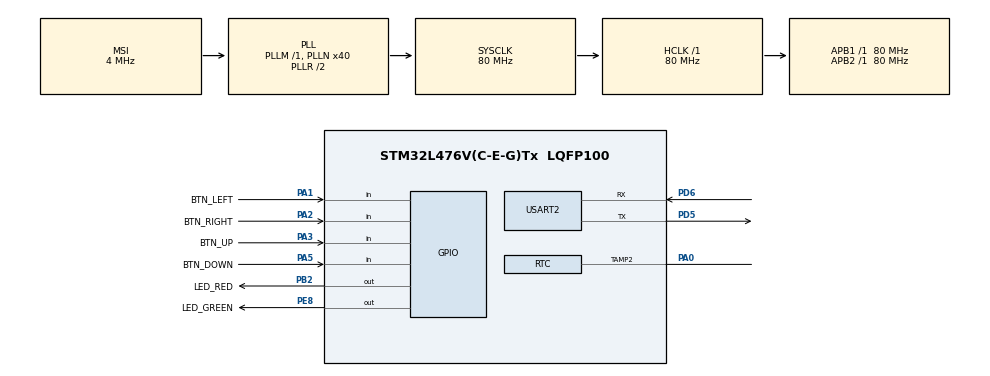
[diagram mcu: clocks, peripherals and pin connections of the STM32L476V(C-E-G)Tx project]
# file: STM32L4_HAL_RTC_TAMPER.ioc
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Mcu.Family=STM32L4
Mcu.Name=STM32L476V(C-E-G)Tx
Mcu.Package=LQFP100
NVIC.PriorityGroup=NVIC_PRIORITYGROUP_4
NVIC.RTC_WKUP_IRQn=true\:0\:0\:false\:false\:true\:true\:true\:true
NVIC.TAMP_STAMP_IRQn=true\:0\:0\:false\:false\:true\:true\:true\:true
PA0.Mode=Tamper 2 enabled
PA0.Signal=RTC_TAMP2
PA1.GPIO_Label=BTN_LEFT
PA1.GPIO_PuPd=GPIO_PULLDOWN
PA1.Signal=GPIO_Input
PA13\ (JTMS-SWDIO).Mode=Serial_Wire
PA13\ (JTMS-SWDIO).Signal=SYS_JTMS-SWDIO
PA14\ (JTCK-SWCLK).Mode=Serial_Wire
PA14\ (JTCK-SWCLK).Signal=SYS_JTCK-SWCLK
PA2.GPIO_Label=BTN_RIGHT
PA2.GPIO_PuPd=GPIO_PULLDOWN
PA2.Signal=GPIO_Input
PA3.GPIO_Label=BTN_UP
PA3.GPIO_PuPd=GPIO_PULLDOWN
PA3.Signal=GPIO_Input
PA5.GPIO_Label=BTN_DOWN
PA5.Signal=GPIO_Input
PB2.GPIO_Label=LED_RED
PB2.Signal=GPIO_Output
PC14-OSC32_IN\ (PC14).Mode=LSE-External-Oscillator
PC14-OSC32_IN\ (PC14).Signal=RCC_OSC32_IN
PC15-OSC32_OUT\ (PC15).Mode=LSE-External-Oscillator
PC15-OSC32_OUT\ (PC15).Signal=RCC_OSC32_OUT
PD5.Mode=Asynchronous
PD5.Signal=USART2_TX
PD6.Mode=Asynchronous
PD6.Signal=USART2_RX
PE8.GPIO_Label=LED_GREEN
PE8.Signal=GPIO_Output
ProjectManager.HeapSize=0x200
ProjectManager.StackSize=0x400
ProjectManager.TargetToolchain=STM32CubeIDE
RCC.ADCFreq_Value=48000000
RCC.AHBFreq_Value=80000000
RCC.APB1Freq_Value=80000000
RCC.APB1TimFreq_Value=80000000
RCC.APB2Freq_Value=80000000
RCC.APB2TimFreq_Value=80000000
RCC.CortexFreq_Value=80000000
RCC.HCLKFreq_Value=80000000
RCC.HSE_VALUE=8000000
RCC.HSI_VALUE=16000000
RCC.LPTIM2CLockSelection=RCC_LPTIM2CLKSOURCE_LSE
RCC.MSI_VALUE=4000000
RCC.PLLN=40
RCC.PLLSAI1N=24
RCC.RTCClockSelection=RCC_RTCCLKSOURCE_LSE
RCC.SYSCLKFreq_VALUE=80000000
RCC.SYSCLKSource=RCC_SYSCLKSOURCE_PLLCLK
RCC.USBFreq_Value=48000000
RCC.VCOOutputFreq_Value=160000000
RTC.TamperPullUp=RTC_TAMPER_PULLUP_DISABLE
RTC.WakeUpClock-WakeUp=RTC_WAKEUPCLOCK_CK_SPRE_16BITS
RTC.WakeUpCounter-WakeUp=4
USART2.VirtualMode-Asynchronous=VM_ASYNC
VP_RTC_VS_RTC_Activate.Mode=RTC_Enabled
VP_RTC_VS_RTC_Calendar.Mode=RTC_Calendar
VP_RTC_VS_RTC_WakeUp_intern.Mode=WakeUp
board=STM32L476G-DISCO

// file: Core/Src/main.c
/* USER CODE BEGIN Header */
/**
  ******************************************************************************
  * @file           : main.c
  * @brief          : Main program body
  ******************************************************************************
  * @attention
  *
  * Copyright (c) 2023 STMicroelectronics.
  * All rights reserved.
  *
  * This software is licensed under terms that can be found in the LICENSE file
  * in the root directory of this software component.
  * If no LICENSE file comes with this software, it is provided AS-IS.
  *
  ******************************************************************************
  */
/* USER CODE END Header */
#include "main.h"
#include "rtc.h"
#include "usart.h"
#include "gpio.h"

void SystemClock_Config(void);

/* USER CODE BEGIN 0 */

#define BACKUP_RAM_PATTERN  (uint32_t)0xA5F0A5F0
#define RTC_BACKUP_REG      RTC_BKP_DR1

/* USER CODE END 0 */

int main(void)
{

  /* MCU Configuration--------------------------------------------------------*/

  /* Reset of all peripherals, Initializes the Flash interface and the Systick. */
  HAL_Init();

  /* Configure the system clock */
  SystemClock_Config();

  /* Initialize all configured peripherals */
  MX_GPIO_Init();
  MX_USART2_UART_Init();
  MX_RTC_Init();
  /* USER CODE BEGIN 2 */

  // Check standby flag
  if(__HAL_PWR_GET_FLAG(PWR_FLAG_SB) != RESET)
  {
    __HAL_PWR_CLEAR_FLAG(PWR_FLAG_SB);
    if(HAL_RTCEx_BKUPRead(&hrtc, RTC_BACKUP_REG) != BACKUP_RAM_PATTERN)
    {
      while(1)
      {
        // tamper detection, backup register was cleared
        HAL_GPIO_WritePin(LED_RED_GPIO_Port, LED_RED_Pin, GPIO_PIN_SET);
      }
    }
    else
    {
      HAL_GPIO_TogglePin(LED_GREEN_GPIO_Port, LED_GREEN_Pin);
      HAL_Delay(500);
      HAL_GPIO_TogglePin(LED_GREEN_GPIO_Port, LED_GREEN_Pin);
    }
  }
  else
  {
    HAL_RTCEx_BKUPWrite(&hrtc, RTC_BACKUP_REG, BACKUP_RAM_PATTERN);
  }

  // clear wakup timer
  HAL_RTCEx_DeactivateWakeUpTimer(&hrtc);
  __HAL_PWR_CLEAR_FLAG(PWR_FLAG_WU);

  // enable wakeup timer, 4sec
  HAL_RTCEx_SetWakeUpTimer_IT(&hrtc, 4, RTC_WAKEUPCLOCK_CK_SPRE_16BITS);

  // if system wakes up, it will start from the beginning
  HAL_PWR_EnterSTANDBYMode();

  /* USER CODE END 2 */

  /* Infinite loop */
  while (1)
  {

  }
}

void SystemClock_Config(void)
{
  RCC_OscInitTypeDef RCC_OscInitStruct = {0};
  RCC_ClkInitTypeDef RCC_ClkInitStruct = {0};

  /** Configure the main internal regulator output voltage
  */
  if (HAL_PWREx_ControlVoltageScaling(PWR_REGULATOR_VOLTAGE_SCALE1) != HAL_OK)
  {
    Error_Handler();
  }

  /** Configure LSE Drive Capability
  */
  HAL_PWR_EnableBkUpAccess();
  __HAL_RCC_LSEDRIVE_CONFIG(RCC_LSEDRIVE_LOW);

  /** Initializes the RCC Oscillators according to the specified parameters
  * in the RCC_OscInitTypeDef structure.
  */
  RCC_OscInitStruct.OscillatorType = RCC_OSCILLATORTYPE_LSE|RCC_OSCILLATORTYPE_MSI;
  RCC_OscInitStruct.LSEState = RCC_LSE_ON;
  RCC_OscInitStruct.MSIState = RCC_MSI_ON;
  RCC_OscInitStruct.MSICalibrationValue = 0;
  RCC_OscInitStruct.MSIClockRange = RCC_MSIRANGE_6;
  RCC_OscInitStruct.PLL.PLLState = RCC_PLL_ON;
  RCC_OscInitStruct.PLL.PLLSource = RCC_PLLSOURCE_MSI;
  RCC_OscInitStruct.PLL.PLLM = 1;
  RCC_OscInitStruct.PLL.PLLN = 40;
  RCC_OscInitStruct.PLL.PLLP = RCC_PLLP_DIV7;
  RCC_OscInitStruct.PLL.PLLQ = RCC_PLLQ_DIV2;
  RCC_OscInitStruct.PLL.PLLR = RCC_PLLR_DIV2;
  if (HAL_RCC_OscConfig(&RCC_OscInitStruct) != HAL_OK)
  {
    Error_Handler();
  }

  /** Initializes the CPU, AHB and APB buses clocks
  */
  RCC_ClkInitStruct.ClockType = RCC_CLOCKTYPE_HCLK|RCC_CLOCKTYPE_SYSCLK
                              |RCC_CLOCKTYPE_PCLK1|RCC_CLOCKTYPE_PCLK2;
  RCC_ClkInitStruct.SYSCLKSource = RCC_SYSCLKSOURCE_PLLCLK;
  RCC_ClkInitStruct.AHBCLKDivider = RCC_SYSCLK_DIV1;
  RCC_ClkInitStruct.APB1CLKDivider = RCC_HCLK_DIV1;
  RCC_ClkInitStruct.APB2CLKDivider = RCC_HCLK_DIV1;

  if (HAL_RCC_ClockConfig(&RCC_ClkInitStruct, FLASH_LATENCY_4) != HAL_OK)
  {
    Error_Handler();
  }

  /** Enable MSI Auto calibration
  */
  HAL_RCCEx_EnableMSIPLLMode();
}

void Error_Handler(void)
{
  __disable_irq();
  while (1)
  {
  }
}
